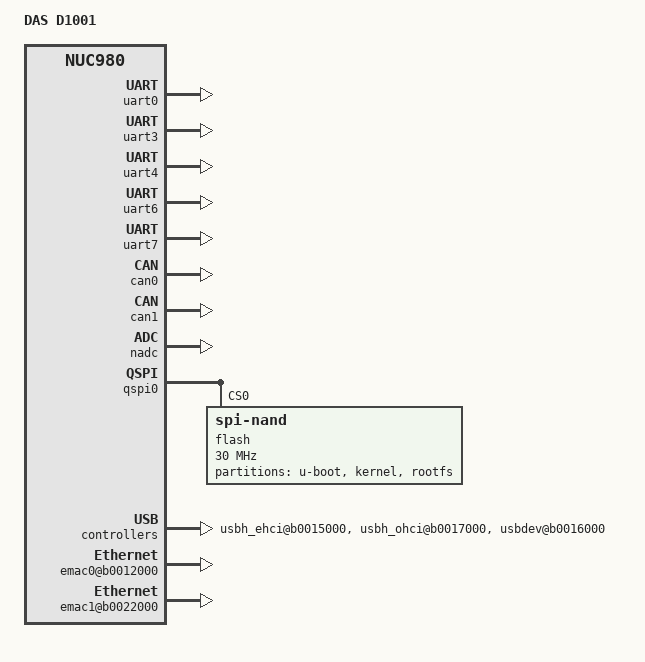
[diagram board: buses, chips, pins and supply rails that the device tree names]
/*
 * Device Tree Source for NUC980 IOT board
 *
 * Copyright (C) 2019 Nuvoton Technology Corp.
 *
 * The code contained herein is licensed under the GNU General Public
 * License. You may obtain a copy of the GNU General Public License
 * Version 2 or later at the following locations:
 *
 * http://www.opensource.org/licenses/gpl-license.html
 * http://www.gnu.org/copyleft/gpl.html
 */
/dts-v1/;
#include "nuc980.dtsi"

/ {
	model = "DAS D1001";
	compatible = "nuvoton,nuc980-dev-v1.0", "nuvoton,nuc980";

	chosen {
		bootargs = "noinitrd ubi.mtd=2 root=ubi0:rootfs rw rootfstype=ubifs console=ttyS0,115200n8 init=/sbin/init mem=128M lpj=744448";
	};

	apb {
    pinctrl: pinctrl@b0000000 {
			status = "okay";
			qspi0 {
				pinctrl_qspi0_quad: qspi0_quad {
					nuvoton,pins =
						<3 2 1 0
						 3 3 1 0
						 3 4 1 0
						 3 5 1 0
						 3 6 1 0
						 3 7 1 0
						>;
          };
        };
			uart0 {
				pinctrl_uart0: uart0 {
					nuvoton,pins =
						<5 0xb 1 0
						 5 0xc 1 0>;
				  };
			  };
      uart3 {
				pinctrl_uart3_PC: uart3-PC {
					nuvoton,pins =
						<2 3 5 0
						 2 4 5 0>;
				  };
			  };
			uart4 {
				pinctrl_uart4_PD: uart4-PD {
					nuvoton,pins =
						<3 0xc 1 0
						 3 0xd 1 0
						 3 0xe 1 0
						 3 0xf 1 0>;
				  };
			  };
      uart6 {
				pinctrl_uart6_PD: uart6-PD {
					nuvoton,pins =
						<3 8 2 0
						 3 9 2 0
						 3 0xa 2 0
						 3 0xb 2 0>;
				  };
			  };
      uart7 {
				pinctrl_uart7_PB: uart7-PB {
					nuvoton,pins =
						<1 4 5 0
						 1 5 5 0
						 1 6 5 0
						 1 7 5 0>;
				  };
			  };
		  can0 {
		  		pinctrl_can0_PG: can0-PG {
		  			nuvoton,pins =
		  				<6 0xb 4 0
		  				 6 0xc 4 0>;
		  	  };
		    };
		  can1 {
		  		pinctrl_can1_PG: can1-PG {
		  			nuvoton,pins =
		  				<6 0xd 4 0
		  				 6 0xe 4 0>;
		  		};
		    };
      fmi {
				pinctrl_sd0: sd0 {
					nuvoton,pins =
						<//2 0xc 6 0
						 2 5 6 0
						 2 6 6 0
						 2 7 6 0
						 2 8 6 0
						 2 9 6 0
						 2 0xa 6 0
             2 0xc 6 0>;
				  };
			  };
      emac0 {
				pinctrl_emac0: emac0 {
					nuvoton,pins =
						<4 0 1 0
						 4 1 1 0
						 4 2 1 0
						 4 3 1 0
						 4 4 1 0
						 4 5 1 0
						 4 6 1 0
						 4 7 1 0
						 4 8 1 0
						 4 9 1 0
             //4 0xa 1 0
             >;
				    };
			  };
			emac1 {
				pinctrl_emac1: emac1 {
					nuvoton,pins =
						<5 0 1 0
						 5 1 1 0
						 5 2 1 0
						 5 3 1 0
						 5 4 1 0
						 5 5 1 0
						 5 6 1 0
						 5 7 1 0
						 5 8 1 0
						 5 9 1 0
             //5 0xa 1 0
             >;
				  };
			  };
      nadc {
				pinctrl_nadc: nadc {
					nuvoton,pins =
						<1 0 0x8 0
						 1 1 0x8 0
						 1 2 0x8 0
						 1 3 0x8 0
						 //1 4 0x8 0
						 //1 5 0x8 0
						 //1 6 0x8 0
						 //1 7 0x8 0
						>;
				  };
			  };
      gpio {
				pinctrl_gpio: gpio-eint {
					nuvoton,pins =
						<
						 //0 0x0 0x5 0	 /* eint0_A0 */
						 //0 0xD 0x8 0	 /* eint0_A13 */

						 //0 0x1 0x5 0	 /* eint1_A1 */
						 //0 0xE 0x6 0	 /* eint1_A14 */

						 //3 0x0 0x4 0   /* eint2_D0 */
						 //4 0xA 0x5 0	 /* eint2_E10 */
						 //1 0x3 0x3 0	 /* eint2_B3 */
						 1 0xD 0x2 0	 /* eint2_B13 */

						 //3 0x1 0x4 0   /* eint3_D1 */
						 //4 0xC 0x5 0	 /* eint3_E12 */
						 6 0xF 0x4 0	 /* eint3_G15 */
						 >;
				  };
			  };
      etimer2 {
				pinctrl_etimer2: etimer2 {
					nuvoton,pins =
						<0 2 3 0  //TM2_ECNT
						 0 0xa 3 0//TM2_TGL
						 0 9 3 0//TM2_CAP
						>;
				  };
			  };
			etimer3 {
				pinctrl_etimer3: etimer3 {
					nuvoton,pins =
						<0 3 3 0  //TM3_ECNT
						 0 8 3 0//TM3_TGL
						 0 7 3 0//TM3_CAP
						>;
				  };
			  };
		};

    uart0: serial@b0070000 {
			pinctrl-names = "default";
			pinctrl-0 = <&pinctrl_uart0_PF>;
			status = "okay";
		  };
    uart1: serial@b0071000 {
			status = "disabled";
		  };
    uart2: serial@b0072000 {
			status = "disabled";
		  };
		uart3: serial@b0073000 {
			pinctrl-names = "default";
			pinctrl-0 = <&pinctrl_uart3_PC>;
			status = "okay";
		  };
		uart4: serial@b0074000 {
			pinctrl-names = "default";
			pinctrl-0 = <&pinctrl_uart4_PD>;
			pdma-enable = <1>;
			status = "okay";
		  };
    uart5: serial@b0075000 {
			status = "disabled";
		  };
		uart6: serial@b0076000 {
			pinctrl-names = "default";
			pinctrl-0 = <&pinctrl_uart6_PD>;
			pdma-enable = <1>;
			status = "okay";
		  };
    uart7: serial@b0077000 {
			pinctrl-names = "default";
			pinctrl-0 = <&pinctrl_uart7_PB>;
			pdma-enable = <1>;
			status = "okay";
		  };
    uart8: serial@b0078000 {
			status = "disabled";
		  };
    uart9: serial@b0079000 {
			status = "disabled";
		  };
    can0: can@b00a0000 {
			pinctrl-names = "default";
			pinctrl-0 = <&pinctrl_can0_PG>;
			status = "okay";
		  };
		can1: can@b00a1000 {
			pinctrl-names = "default";
			pinctrl-0 = <&pinctrl_can1_PG>;
			status = "okay";
		  };
		rtc: rtc@b0041000 {
			status = "okay";
		  };
    wdt: wdt@b0040000 {
			  status = "disabled";
		  };
		wwdt: wdt@b0040100 {
			  status = "disabled";
		  };
		nadc: nadc@b0043000 {
      pinctrl-names = "default";
			pinctrl-0 = <&pinctrl_nadc>;
			status = "okay";
		  };
		qspi0: spi@b0060000 {
			status = "okay";
			#address-cells = <1>;
			#size-cells = <0>;
			pinctrl-names = "default";
			pinctrl-0 = <&pinctrl_qspi0_quad>;
			num_cs  = <2>;
			lsb	 = <0>;
			txneg   = <1>;
			rxneg   = <0>;
			clkpol  = <0>;
			divider = <4>;
			sleep   = <0>;
			txnum   = <0>;
			txbitlen = <8>;
			bus_num	= <0>;
			flash: flash@0 {
				compatible = "spi-nand";
				#address-cells = <1>;
				#size-cells = <1>;
				reg = <0>;
				spi-max-frequency = <30000000>;
				spi-rx-bus-width = <4>;
				spi-tx-bus-width = <1>;
				partition@0 {
					label = "u-boot";
					reg = <0x00000000 0x00200000>;
				};
				partition@1 {
					label = "kernel";
					reg = <0x00200000 0x01600000>;
				};
				partition@2 {
					label = "rootfs";
					reg = <0x01800000 0x06800000>;
				};
			};
		  };

		/*spi0: spi@b0061000 {
			status = "disabled";
			#address-cells = <1>;
			#size-cells = <0>;

			num_cs  = <2>;
			lsb	 = <0>;
			txneg   = <1>;
			rxneg   = <0>;
			clkpol  = <0>;
			divider = <4>;
			sleep   = <0>;
			txnum   = <0>;
			txbitlen = <8>;
			bus_num	= <1>;
		  };*/

		etimer2: etimer2@b0051000 {
      pinctrl-names = "default";
      pinctrl-0 = <&pinctrl_etimer2>;
			status = "okay";
		  };
		etimer3: etimer3@b0051100 {
      pinctrl-names = "default";
      pinctrl-0 = <&pinctrl_etimer3>;
			status = "okay";
		  };
	};

	ahb {
		crypto@b001c000{
			status = "okay";
		  };
		crypto_raw {
			status = "okay";
		  };
		usbh_ehci@b0015000 {
			pinctrl-0 = <>; /*disable PWREN and OVC*/
			ov_active = <1>;
			status = "okay";
		  };
		usbh_ohci@b0017000{
			ov_active = <1>;
			status = "okay";
		  };
		usbdev@b0016000 {
			status = "okay";
		  };
		fmi@b0019000 {
      pinctrl-names = "default";
			pinctrl-0 = <&pinctrl_sd0>;
			status = "okay";
		  };
		sdh@b0018000 {
			status = "disabled";
		  };
		emac0@b0012000 {
      pinctrl-names = "default";
      pinctrl-0 = <&pinctrl_emac0>;
			status = "okay";
		  };
		emac1@b0022000 {
      pinctrl-names = "default";
      pinctrl-0 = <&pinctrl_emac1>;
			use-ncsi;
			status = "okay";
		  };
		cap0@b0024000 {
			status = "disabled";
		  };
		cap1@b0014000 {
			status = "disabled";
		  };
		dma@b0008000 {
			status = "okay";
		  };
		ebi: ebi@b0010000 {
			status = "disabled";
		  };
	};
};


